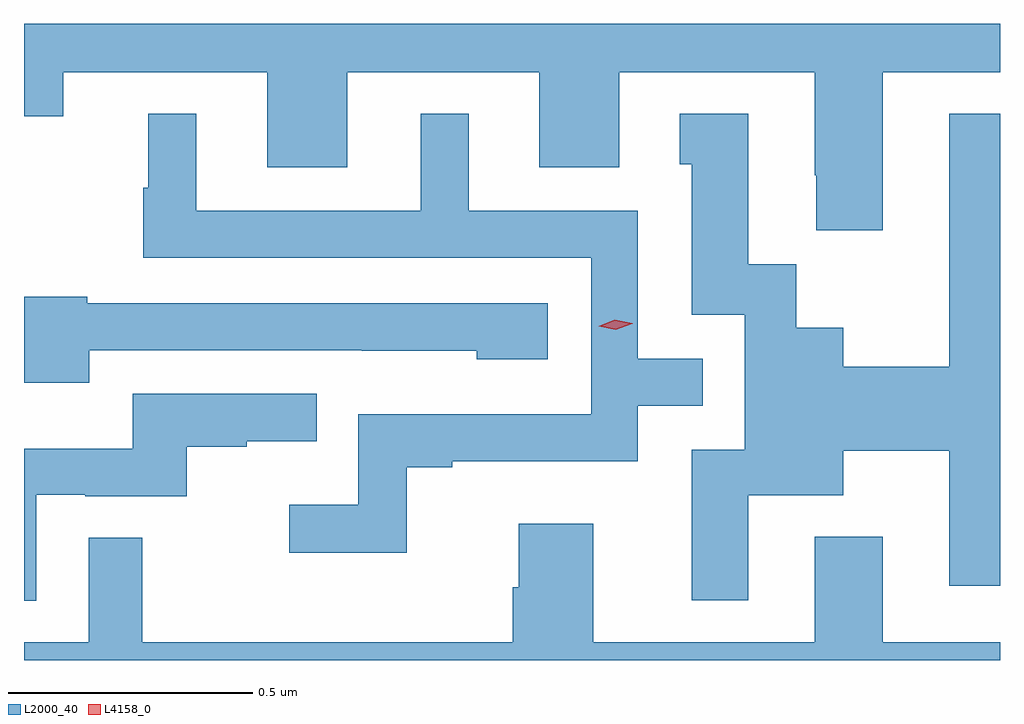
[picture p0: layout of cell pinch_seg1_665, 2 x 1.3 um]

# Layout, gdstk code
import gdstk
lib = gdstk.Library(unit=1e-6, precision=1e-09)
def P(c, l, *ps):  # polygons
    for p in ps: c.add(gdstk.Polygon(p, *l))
L2000_40 = (2000, 40)
L4158_0 = (4158, 0)

pinch_seg1_665 = lib.new_cell('pinch_seg1_665')
P(pinch_seg1_665, L2000_40, [(772.309,583.7),(772.549,583.7),(772.549,583.8),(770.549,583.8),(770.549,583.61),(770.629,583.61),(770.629,583.7),(771.047,583.7),(771.047,583.506),(771.211,583.506),(771.211,583.7),(771.605,583.7),(771.605,583.506),(771.769,583.506),(771.769,583.7),(772.169,583.7),(772.169,583.489),(772.172,583.489),(772.172,583.377),(772.309,583.377)],
  [(772.033,582.833),(772.228,582.833),(772.228,582.925),(772.445,582.925),(772.445,582.648),(772.549,582.648),(772.549,583.615),(772.445,583.615),(772.445,583.097),(772.228,583.097),(772.228,583.177),(772.131,583.177),(772.131,583.307),(772.033,583.307),(772.033,583.615),(771.893,583.615),(771.893,583.512),(771.917,583.512),(771.917,583.203),(772.026,583.203),(772.026,582.927),(771.917,582.927),(771.917,582.618),(772.033,582.618)],
  [(771.333,582.891),(771.427,582.891),(771.427,582.903),(771.807,582.903),(771.807,583.017),(771.94,583.017),(771.94,583.113),(771.807,583.113),(771.807,583.416),(771.46,583.416),(771.46,583.615),(771.362,583.615),(771.362,583.416),(770.902,583.416),(770.902,583.615),(770.804,583.615),(770.804,583.464),(770.793,583.464),(770.793,583.32),(771.711,583.32),(771.711,582.999),(771.234,582.999),(771.234,582.814),(771.093,582.814),(771.093,582.716),(771.333,582.716)],
  [(770.683,583.131),(771.241,583.131),(771.241,583.13),(771.477,583.13),(771.477,583.112),(771.622,583.112),(771.622,583.227),(770.679,583.227),(770.679,583.24),(770.549,583.24),(770.549,583.064),(770.683,583.064)],
  [(770.574,582.834),(770.674,582.834),(770.674,582.831),(770.882,582.831),(770.882,582.933),(771.005,582.933),(771.005,582.944),(771.149,582.944),(771.149,583.041),(770.772,583.041),(770.772,582.929),(770.549,582.929),(770.549,582.617),(770.574,582.617)],
  [(772.549,582.532),(772.309,582.532),(772.309,582.748),(772.169,582.748),(772.169,582.532),(771.715,582.532),(771.715,582.775),(771.563,582.775),(771.563,582.645),(771.551,582.645),(771.551,582.532),(770.791,582.532),(770.791,582.746),(770.682,582.746),(770.682,582.532),(770.549,582.532),(770.549,582.495),(772.549,582.495)])
P(pinch_seg1_665, L4158_0, [(771.762,583.173),(771.727,583.18),(771.727,583.18),(771.727,583.18),(771.76,583.193),(771.795,583.186),(771.796,583.185),(771.795,583.185)])

lib.write_gds('pinch_seg1_665.gds')
